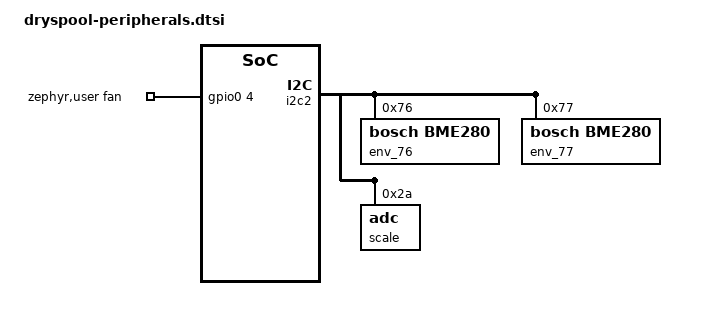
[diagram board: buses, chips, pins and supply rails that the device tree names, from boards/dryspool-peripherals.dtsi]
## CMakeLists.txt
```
cmake_minimum_required(VERSION 3.20.0)
# This must be set before Zephyr adds the Nordic nanopb library.
if("${CMAKE_CURRENT_SOURCE_DIR}/config/ble_setup.conf" IN_LIST CONF_FILE)
  set(NANOPB_OPTIONS "--options-file=${CMAKE_CURRENT_SOURCE_DIR}/config/ble_personal_wifi.options")
endif()
find_package(Zephyr REQUIRED HINTS $ENV{ZEPHYR_BASE})
project(dryspool)

target_include_directories(app PRIVATE src)
target_sources(app PRIVATE
  src/main.c
  src/sensors/bme280.c
  src/sensors/nau7802.c
  src/control/fan.c
  src/spool/profile.c
  src/spool/calibration.c
  src/shell/commands.c
  src/readings.c
)

if(CONFIG_DRYSPOOL_CLOUD)
  include(cmake/memfault.cmake)
  target_sources(app PRIVATE src/cloud/cloud.c src/cloud/telemetry.c src/cloud/box_shadow.c)
  if(CONFIG_DRYSPOOL_BLE_SETUP)
    target_sources(app PRIVATE src/setup/provisioning.c)
    zephyr_library_include_directories($<TARGET_PROPERTY:wifi_prov_core,BINARY_DIR>)
    target_link_libraries(app PRIVATE wifi_prov_ble)
  endif()
  target_sources_ifdef(CONFIG_SAMPLE_MEMFAULT_FOTA app PRIVATE src/ota/trial_image.c)
  if("${CONFIG_MEMFAULT_NCS_PROJECT_KEY}" STREQUAL "")
    message(WARNING "No Memfault project key configured. For release checks, build with -DEXTRA_CONF_FILE=<absolute path to firmware/local.conf>.")
  endif()
endif()
```

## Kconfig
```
#
# Copyright (c) 2022 Nordic Semiconductor ASA
#
# SPDX-License-Identifier: LicenseRef-Nordic-5-Clause
#

menu "DrySpool firmware settings"

config DRYSPOOL_CLOUD
	bool
	default y if BOARD_NRF7002DK_NRF5340_CPUAPP_NS

config DRYSPOOL_BLE_SETUP
	bool "DrySpool Bluetooth setup"
	depends on DRYSPOOL_CLOUD

config APP_VERSION
	string "DrySpool application version"
	default "$(APPVERSION)"

config CLOUD_CONNECTION_RETRY_TIMEOUT_SECONDS
	int "Cloud connection retry timeout (seconds)"
	default 30

config CONNECTION_THREAD_STACK_SIZE
	int "Cloud connection thread stack size (bytes)"
	default 2048

config SENSOR_SAMPLE_INTERVAL_SECONDS
	int "Cloud telemetry interval (seconds)"
	default 60
	help
	  Controls cloud reporting. The local sampling loop runs independently.

if NRF_CLOUD_COAP

config SAMPLE_MEMFAULT_FOTA
	bool "Application FOTA using Memfault Release Management"
	depends on BOOTLOADER_MCUBOOT
	depends on $(dt_nodelabel_enabled,slot1_partition)
	depends on MCUBOOT_BOOTLOADER_MODE_SWAP_USING_OFFSET || MCUBOOT_BOOTLOADER_MODE_SWAP_USING_MOVE || \
			MCUBOOT_BOOTLOADER_MODE_SWAP_SCRATCH || MCUBOOT_BOOTLOADER_MODE_RAM_LOAD_WITH_REVERT || \
			MCUBOOT_BOOTLOADER_MODE_DIRECT_XIP_WITH_REVERT
	help
	  Enables application firmware updates delivered through Memfault
	  Release Management. Requires a MCUboot mode that supports the
	  test/confirm revert mechanism, since the sample relies on
	  boot_write_img_confirmed() to mark an update as good.

config SAMPLE_MEMFAULT_BUTTONS
	bool "Trigger Memfault actions with DK buttons"
	default y
	depends on MEMFAULT
	select DK_LIBRARY
	help
	  Lets the application trigger Memfault actions on demand, instead of
	  waiting for the Memfault SDK's periodic upload timer:
	  The first button (sw0) captures a metrics heartbeat and posts all pending chunks.
	  The second button (sw1) checks for a FOTA update (requires SAMPLE_MEMFAULT_FOTA).

config SAMPLE_MEMFAULT_BUTTONS_THREAD_STACK_SIZE
	int "Memfault buttons thread stack size (bytes)"
	default 4096
	depends on SAMPLE_MEMFAULT_BUTTONS
	help
	  Sets the stack size (in bytes) for the thread that runs the
	  button-triggered Memfault actions.

endif

endmenu

if NRF_CLOUD_MQTT
module-str = MQTT nRF Cloud
endif
if NRF_CLOUD_COAP
module-str = CoAP nRF Cloud
endif
module = WIFI_NRF_CLOUD
source "$(ZEPHYR_BASE)/subsys/logging/Kconfig.template.log_config"

menu "Zephyr Kernel"
source "Kconfig.zephyr"
endmenu
```

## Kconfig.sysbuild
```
#
# Copyright (c) 2024 Nordic Semiconductor
#
# SPDX-License-Identifier: LicenseRef-Nordic-5-Clause
#

config WIFI_NRF70
	default y if BOARD_NRF7002DK_NRF5340_CPUAPP_NS

config PARTITION_MANAGER
	default n

# MCUBoot is not fully supported on nRF7120/ns yet
choice BOOTLOADER
	default BOOTLOADER_MCUBOOT
endchoice

source "share/sysbuild/Kconfig"

config DRYSPOOL_BLE_SETUP
	bool "Build the DrySpool Bluetooth setup profile"
	depends on BOARD_NRF7002DK_NRF5340_CPUAPP_NS

config NRF_DEFAULT_IPC_RADIO
	default y if DRYSPOOL_BLE_SETUP
```

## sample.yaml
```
sample:
  name: DrySpool Wi-Fi nRF Cloud FOTA firmware
tests:
  dryspool.wifi.coap.fota:
    sysbuild: true
    build_only: true
    integration_platforms:
      - nrf7002dk/nrf5340/cpuapp/ns
    platform_allow:
      - nrf7002dk/nrf5340/cpuapp/ns
    tags:
      - dryspool
      - wifi
      - fota
      - sysbuild
```

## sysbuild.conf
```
# DrySpool uses its own ECDSA-P256 root-of-trust key.
# The private key is intentionally ignored by Git and must be distributed to
# teammates through a secure out-of-band channel.
SB_CONFIG_BOOT_SIGNATURE_TYPE_ECDSA_P256=y
SB_CONFIG_BOOT_SIGNATURE_KEY_FILE="\${APPLICATION_CONFIG_DIR}/keys/dryspool-signing.pem"
```

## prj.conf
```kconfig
#
# Copyright (c) 2022 Nordic Semiconductor ASA
#
# SPDX-License-Identifier: LicenseRef-Nordic-5-Clause
#

# Log level
CONFIG_LOG_PRINTK=y
CONFIG_NET_LOG=y
# For more verbose and detailed log output, set the log level to
# CONFIG_WIFI_NRF_CLOUD_LOG_LEVEL_DBG=y instead.
CONFIG_WIFI_NRF_CLOUD_LOG_LEVEL_INF=y

# General config
CONFIG_SENSOR=y
CONFIG_I2C=y
CONFIG_BME280=y
CONFIG_EVENTS=y
CONFIG_PICOLIBC_IO_FLOAT=y
CONFIG_RESET_ON_FATAL_ERROR=y
CONFIG_NCS_SAMPLES_DEFAULTS=y

# Improved Logging
# CONFIG_LOG_MODE_DEFERRED allows logging from multiple threads simultaneously without creating
# splintered log entries, at the cost of needing a buffer for storing logs.
CONFIG_LOG_MODE_DEFERRED=y

# CONFIG_LOG_BUFFER_SIZE is the aforementioned buffer. A size of 4096 bytes is useful for debugging
# and prototyping, but is probably more than necessary for production-ready firmware.
CONFIG_LOG_BUFFER_SIZE=4096

# Heap and stacks
# Extended memory heap size needed for Wi-Fi operation and encoding JSON-based nRF Cloud Device Messages.
# Add 256 bytes for each additional scanning result (CONFIG_NRF_WIFI_SCAN_MAX_BSS_CNT),
# assuming sane SSID lengths.
CONFIG_HEAP_MEM_POOL_SIZE=40144
CONFIG_HEAP_MEM_POOL_IGNORE_MIN=y
CONFIG_SYSTEM_WORKQUEUE_STACK_SIZE=4096
CONFIG_MAIN_STACK_SIZE=2048

# Enable Networking and Connection Manager.
CONFIG_NETWORKING=y
CONFIG_NET_SOCKETS=y
CONFIG_NET_SOCKETS_OFFLOAD=n
CONFIG_NET_MGMT_EVENT_QUEUE_SIZE=30
CONFIG_NET_CONNECTION_MANAGER_MONITOR_STACK_SIZE=6144
CONFIG_NET_CONNECTION_MANAGER=y

CONFIG_NET_IPV4=y
CONFIG_NET_IPV6=y
CONFIG_NET_IPV6_NBR_CACHE=n
CONFIG_NET_IPV6_MLD=n

# DNS
CONFIG_DNS_RESOLVER=y
CONFIG_NET_SOCKETS_DNS_TIMEOUT=30000

# Wi-Fi drivers
CONFIG_WIFI=y


# Wi-Fi conn_mgr bindings
CONFIG_L2_WIFI_CONNECTIVITY=y

# Wi-Fi credentials (simplified Wi-Fi connection setup)
CONFIG_WIFI_CREDENTIALS=y

# Wi-Fi networking and native networking stack
# Note: WIFI_NM_WPA_SUPPLICANT requires 24kB of unused RAM in the final build.
# Memory allocations are fine-tuned with that fact in mind.
CONFIG_WIFI_NM_WPA_SUPPLICANT=y
CONFIG_NET_L2_ETHERNET=y
CONFIG_NET_NATIVE=y
CONFIG_NET_SOCKETS_SOCKOPT_TLS=y
# Allow the FOTA download (HTTPS) to run concurrently with the nRF Cloud CoAP/DTLS conn.
CONFIG_NET_SOCKETS_TLS_MAX_CONTEXTS=2
CONFIG_NET_SOCKETS_TLS_MAX_SESSION_CONTEXTS=2
CONFIG_NET_MAX_CONN=8
CONFIG_NET_MAX_CONTEXTS=8

# Shrink TLS record size and negotiate the smaller size, allowing for
# two concurrent TLS/DTLS sessions (nRF Cloud CoAP + FOTA HTTPS) to fit within the
# available mbedTLS heap (CONFIG_MBEDTLS_HEAP_SIZE).
CONFIG_MBEDTLS_SSL_IN_CONTENT_LEN=4096
CONFIG_MBEDTLS_SSL_OUT_CONTENT_LEN=4096
CONFIG_MBEDTLS_SSL_MAX_FRAGMENT_LENGTH=y

CONFIG_NET_CONTEXT_SNDTIMEO=y
CONFIG_NET_TCP=y
CONFIG_NET_DHCPV4=y

# MBEDTLS base configuration for Wi-Fi TLS/DTLS
CONFIG_MBEDTLS=y
CONFIG_MBEDTLS_ENABLE_HEAP=y
CONFIG_MBEDTLS_SSL_SERVER_NAME_INDICATION=y
CONFIG_MBEDTLS_HEAP_SIZE=65536
# PEM parsing is required for TLS credentials provisioned via the shell
CONFIG_MBEDTLS_PEM_PARSE_C=y
# Needed to parse/verify RSA-signed CA certificates (e.g. Amazon Root CA1, used by
# CONFIG_NRF_CLOUD_PROVISION_CERTIFICATES's hardcoded credentials flow).
CONFIG_MBEDTLS_CIPHERSUITE_TLS_ECDHE_RSA_WITH_AES_128_CBC_SHA256=y
CONFIG_PSA_WANT_ALG_ECDSA=y
# PBKDF2-HMAC is needed for WPA2-PSK passphrase hashing (pbkdf2_sha1)
CONFIG_PSA_WANT_ALG_PBKDF2_HMAC=y
CONFIG_PSA_WANT_ALG_PBKDF2_AES_CMAC_PRF_128=y

# Wait for credential installation to be complete before connecting to nRF Cloud
CONFIG_NRF_CLOUD_CHECK_CREDENTIALS=y

# nRF Cloud
# Transport (MQTT or CoAP) is selected explicitly via mqtt.conf or coap.conf.
CONFIG_NRF_CLOUD=y

# Use compile-time client ID for nRF Cloud
CONFIG_NRF_CLOUD_CLIENT_ID_SRC_HW_ID=y
CONFIG_HW_ID_LIBRARY=y
CONFIG_HW_ID_LIBRARY_SOURCE_DEVICE_ID=y

# Limit the scan result set to keep the Wi-Fi heap bounded.
CONFIG_NRF_WIFI_SCAN_MAX_BSS_CNT=10

# Date Time lib - Used by main application
CONFIG_DATE_TIME=y
# Enable date_time retries for Wi-Fi
# This prevents occasional DNS lookup flukes from
# rendering the device unable to connect until the next
# CONFIG_DATE_TIME_UPDATE_INTERVAL_SECONDS elapses (default 4 hours)
CONFIG_DATE_TIME_RETRY_COUNT=5
# Use a really short retry interval for demo purposes
# 60 seconds to 15 minutes is probably more appropriate for real-world applications
CONFIG_DATE_TIME_RETRY_INTERVAL_SECONDS=20

# Settings are used by nRF Cloud (MQTT persistent session, FOTA) and for Wi-Fi credentials
# on TFM-less builds. The storage backend (ZMS or NVS) is selected in each board's .conf file.
CONFIG_SETTINGS=y

# Flash
CONFIG_FLASH=y
CONFIG_FLASH_PAGE_LAYOUT=y
CONFIG_FLASH_MAP=y

# Run the application as the non-secure image behind TF-M. Keep these settings
# explicit so pristine sysbuilds include Protected Storage and the crypto
# support used by the nRF Cloud credentials.
CONFIG_BUILD_WITH_TFM=y
CONFIG_TRUSTED_EXECUTION_NONSECURE=y
CONFIG_TFM_PARTITION_PROTECTED_STORAGE=y
CONFIG_TFM_PROFILE_TYPE_NOT_SET=y
CONFIG_TFM_CRYPTO_ASYM_SIGN_MODULE_ENABLED=y

# Credential management shells
CONFIG_SHELL=y
CONFIG_NET_L2_WIFI_SHELL=y
CONFIG_WIFI_CREDENTIALS_SHELL=y
CONFIG_TLS_CREDENTIALS_SHELL=y
# "net iface" shows MAC + IP; "net ping" useful for connectivity checks
CONFIG_NET_SHELL=y
CONFIG_DEVMEM_SHELL=n
# Persist TLS credentials across reboots.
CONFIG_TLS_CREDENTIALS_BACKEND_PROTECTED_STORAGE=y
# Memfault installs two root CAs and nRF Cloud needs a CA, client certificate,
# and private key. The Zephyr default of four entries cannot hold all five.
CONFIG_TLS_MAX_CREDENTIALS_NUMBER=8
# Increased stack size needed for wifi_cred auto_connect command
CONFIG_SHELL_STACK_SIZE=6144
# nRFCloud credentials can exceed 1024 bytes
CONFIG_TLS_CREDENTIALS_SHELL_CRED_BUF_SIZE=3072
# Needed by the TLS credentials shell
CONFIG_BASE64=y

# Network
CONFIG_POSIX_API=y

# Miscellaneous resource allocation tweaks needed to support Wi-Fi
CONFIG_MESSAGE_THREAD_STACK_SIZE=8192
CONFIG_CONNECTION_THREAD_STACK_SIZE=6144
CONFIG_DATE_TIME_THREAD_STACK_SIZE=2048
CONFIG_NET_TX_STACK_SIZE=1024
CONFIG_NET_RX_STACK_SIZE=2048
CONFIG_WIFI_NM_WPA_SUPPLICANT_THREAD_STACK_SIZE=6144
CONFIG_ZVFS_POLL_MAX=8

## Memory allocation
CONFIG_NRF_WIFI_CTRL_HEAP_SIZE=20000
CONFIG_NRF_WIFI_DATA_HEAP_SIZE=92856

## Thread stack sizes
CONFIG_APPLICATION_THREAD_STACK_SIZE=2048
CONFIG_NET_MGMT_EVENT_STACK_SIZE=8192

# NCS 3.4.0 does not expose the later on-device nRF Cloud credential-keygen
# options. Provision cloud credentials with the documented nRF Cloud flow.

# Convert only when sensor_sample_fetch() requests a reading; sleep afterward.
CONFIG_BME280_MODE_FORCED=y
```

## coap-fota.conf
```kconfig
#
# Copyright (c) 2026 Nordic Semiconductor ASA
#
# SPDX-License-Identifier: LicenseRef-Nordic-5-Clause
#

# We keep FOTA support in a separate file because not all targets
# are able to support it yet (nRF7120/ns). Can be merged into
# coap.conf once things are in shape.

# Set sample-local flag
CONFIG_SAMPLE_MEMFAULT_FOTA=y

# Enable FOTA
CONFIG_FOTA_DOWNLOAD=y
CONFIG_FOTA_DOWNLOAD_PROGRESS_EVT=y
CONFIG_DFU_TARGET=y
CONFIG_DOWNLOADER=y
CONFIG_IMG_MANAGER=y
CONFIG_STREAM_FLASH=y
CONFIG_IMG_ERASE_PROGRESSIVELY=y
CONFIG_REBOOT=y
# Custom callback to gracefully disconnect from nRF Cloud before reboot
CONFIG_MEMFAULT_FOTA_DOWNLOAD_CALLBACK_CUSTOM=y
# Let Memfault SDK poll for FOTA updates
CONFIG_MEMFAULT_PERIODIC_FOTA_CHECK=y

# NCS 3.4.0 caps the nRF Cloud CoAP path at 128. Memfault release checks and
# payload downloads use HTTPS in this backport, so longer CoAP paths are not needed.
CONFIG_COAP_CLIENT_MAX_PATH_LENGTH=128
CONFIG_DOWNLOADER_MAX_FILENAME_SIZE=400
CONFIG_DOWNLOADER_STACK_SIZE=8192
```

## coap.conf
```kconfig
#
# Copyright (c) 2024 Nordic Semiconductor ASA
#
# SPDX-License-Identifier: LicenseRef-Nordic-5-Clause
#

# Configure MBEDTLS for CoAP/DTLS
CONFIG_MQTT_LIB_TLS=n
CONFIG_MBEDTLS_DTLS=y
CONFIG_MBEDTLS_SSL_SRV_C=y
CONFIG_MBEDTLS_SSL_COOKIE_C=y
# Ciphersuite for CoAP
CONFIG_MBEDTLS_CIPHERSUITE_TLS_ECDHE_ECDSA_WITH_AES_128_GCM_SHA256=y
CONFIG_MBEDTLS_SSL_DTLS_HELLO_VERIFY=y
CONFIG_MBEDTLS_SSL_DTLS_CONNECTION_ID=y
CONFIG_NET_SOCKETS_ENABLE_DTLS=y

# nRF Cloud: CoAP
CONFIG_NRF_CLOUD_COAP=y
CONFIG_NRF_CLOUD_JWT_SOURCE_CUSTOM=y
CONFIG_NRF_CLOUD_COAP_MAX_USER_OPTIONS=0
CONFIG_COAP_CLIENT_MAX_EXTRA_OPTIONS=3
# Memfault requires longer CoAP options than the default
CONFIG_COAP_EXTENDED_OPTIONS_LEN_VALUE=192

# Memfault device management. NCS 3.4.0's bundled Memfault 1.40 CoAP port
# incorrectly pulls in an nRF91-only modem header on nRF7002. Use Memfault's
# supported HTTPS transport for diagnostics and release checks while keeping
# nRF Cloud CoAP for DrySpool telemetry.
CONFIG_MEMFAULT=y
CONFIG_MEMFAULT_HTTP_ENABLE=y
CONFIG_MEMFAULT_PERIODIC_UPLOAD=y
# Let the application enable upload when ready
CONFIG_MEMFAULT_PERIODIC_UPLOAD_ENABLED_DEFAULT=n
CONFIG_MEMFAULT_SHELL=y
# 3.11: heartbeat + automatic upload every 5 min (default is 1 hour) so metric
# charts fill up and OTA checks happen quickly during the demo.
CONFIG_MEMFAULT_METRICS_HEARTBEAT_INTERVAL_SECS=300
CONFIG_MEMFAULT_PERIODIC_UPLOAD_INTERVAL_SECS=300
# 3.11 metric 4.1: power status via Memfault battery metrics (see src/dryspool_power.c)
CONFIG_MEMFAULT_METRICS_BATTERY_ENABLE=y
# Memfault 1.40 declares Zephyr 4.4's system heap with an obsolete type when
# this optional metric is enabled. Keep allocation tracking/coredumps, but
# disable only the incompatible aggregate memory-usage metric.
CONFIG_MEMFAULT_METRICS_MEMORY_USAGE=n
CONFIG_MEMFAULT_NCS_FW_VERSION_STATIC=y
CONFIG_MEMFAULT_NCS_FW_TYPE="dryspool-app"
CONFIG_MEMFAULT_NCS_HW_VERSION="nrf7002dk-rev1"
CONFIG_MEMFAULT_NCS_PROJECT_KEY=""
CONFIG_MEMFAULT_ROOT_CERT_STORAGE_TLS_CREDENTIAL_STORAGE=y
CONFIG_MEMFAULT_NCS_PROVISION_CERTIFICATES=y
# Dedicated workqueue for Memfault uploads
CONFIG_MEMFAULT_PERIODIC_UPLOAD_USE_DEDICATED_WORKQUEUE=y
# Clean fault logs
CONFIG_MPU_STACK_GUARD=y
CONFIG_MEMFAULT_FAULT_HANDLER_RETURN=y

# CoAP Client
CONFIG_COAP_CLIENT_BLOCK_SIZE=1024
CONFIG_COAP_CLIENT_THREAD_PRIORITY=0

# Stack sizes
CONFIG_COAP_CLIENT_STACK_SIZE=8192
CONFIG_COAP_SHADOW_THREAD_STACK_SIZE=8192
```

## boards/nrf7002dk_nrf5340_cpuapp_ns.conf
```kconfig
#
# Copyright (c) 2026 Nordic Semiconductor ASA
#
# SPDX-License-Identifier: LicenseRef-Nordic-5-Clause
#

# Note: even when using Protected Storage, credentials are still retrieved into insecure
# memory when in use.
CONFIG_TFM_PARTITION_PROTECTED_STORAGE=y
## TF-M: keep IPC mode (default) for the MQTT build. Enable MM-IOVEC to save RAM.
CONFIG_TFM_PSA_FRAMEWORK_HAS_MM_IOVEC=y

CONFIG_TFM_CRYPTO_ASYM_SIGN_MODULE_ENABLED=y

# Use NVS for settings
CONFIG_NVS=y

# Enable LTO to save flash memory (required for CoAP overlay which would otherwise overflow)
CONFIG_LTO=y
CONFIG_ISR_TABLES_LOCAL_DECLARATION=y

#NRF70 specific configuration
CONFIG_WIFI_NRF70=y
CONFIG_WIFI_NRF70_SKIP_LOCAL_ADMIN_MAC=y

# Keep crash data in a dedicated internal-flash partition. A RAM-backed dump
# large enough for this application would exceed the nRF5340's available RAM.
CONFIG_MEMFAULT_NCS_INTERNAL_FLASH_BACKED_COREDUMP=y
CONFIG_MBEDTLS_HEAP_SIZE=49152

# Cut flash. Needed in order to fit into application image slots
CONFIG_NET_SHELL=n

# Not enough RAM for the Memfault buttons thread
CONFIG_SAMPLE_MEMFAULT_BUTTONS=n

# UARTE1 and arduino_i2c/TWIM1 share serial block 1. TF-M's dedicated
# UART1 logging reservation makes non-secure I2C initialization bus-fault.
# Release UART1; the application console remains on UART0.
CONFIG_TFM_LOG_LEVEL_SILENCE=y
CONFIG_TFM_SECURE_UART=n
```

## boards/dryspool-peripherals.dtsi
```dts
&arduino_i2c {
	status = "disabled";
};

/* UARTE1 belongs to TF-M. Route TWIM2 to the Arduino SDA/SCL pins. */
&i2c2 {
	status = "okay";
	pinctrl-0 = <&i2c1_default>;
	pinctrl-1 = <&i2c1_sleep>;
	pinctrl-names = "default", "sleep";

	env_76: bme280@76 {
		compatible = "bosch,bme280";
		reg = <0x76>;
	};
	env_77: bme280@77 {
		compatible = "bosch,bme280";
		reg = <0x77>;
	};
	scale: adc@2a {
		reg = <0x2a>;
	};
};

/ {
	zephyr,user {
		fan-gpios = <&gpio0 4 GPIO_ACTIVE_HIGH>; /* Arduino A0 -> driver IN */
	};
};
```

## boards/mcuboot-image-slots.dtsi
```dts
/*
 * Copyright (c) 2026 Nordic Semiconductor ASA
 *
 * SPDX-License-Identifier: LicenseRef-Nordic-5-Clause
 */

/* Shared slot0/slot1 addresses and sizes */

&flash0 {
	partitions {
		slot0_partition: partition@10000 {
			compatible = "zephyr,mapped-partition";
			label = "image-0";
			reg = <0x10000 DT_SIZE_K(896)>;
		};
	};
};

&mx25r64 {
	partitions {
		compatible = "fixed-partitions";
		#address-cells = <1>;
		#size-cells = <1>;

		slot1_partition: partition@0 {
			label = "image-1";
			reg = <0x0 DT_SIZE_K(896)>;
		};
	};
};
```

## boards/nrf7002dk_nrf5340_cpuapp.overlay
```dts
#include "dryspool-peripherals.dtsi"
```

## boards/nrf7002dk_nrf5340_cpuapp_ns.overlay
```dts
/*
 * Copyright (c) 2026 Nordic Semiconductor ASA
 *
 * SPDX-License-Identifier: LicenseRef-Nordic-5-Clause
 */

/* NCS 3.4 cpuapp/ns target: dual-slot MCUboot layout with external slot1. */

/delete-node/ &slot0_partition;
/delete-node/ &slot1_partition;
/delete-node/ &storage_partition;
/delete-node/ &sram0_ns;

#include "mcuboot-image-slots.dtsi"

&slot0_partition {
	ranges = <0x0 0x10000 DT_SIZE_K(896)>;
	#address-cells = <1>;
	#size-cells = <1>;

	slot0_s_partition: partition@0 {
		compatible = "zephyr,mapped-partition";
		label = "image-0-secure";
		reg = <0x0 DT_SIZE_K(128)>;
	};

	slot0_ns_partition: partition@20000 {
		compatible = "zephyr,mapped-partition";
		label = "image-0-nonsecure";
		reg = <0x20000 DT_SIZE_K(768)>;
	};
};

&flash0 {
	partitions {
		/*
		 * 0x10000 (boot) + 896K (slot0) = 0xf0000.
		 *
		 * nRF5340 flash security attribution has 32 KiB granularity. Keep all
		 * TF-M storage in the secure 0xf0000-0xf7fff region and all Zephyr
		 * storage in the non-secure 0xf8000-0xfffff region. Mixing secure and
		 * non-secure partitions inside either region causes TF-M Protected
		 * Storage to fault after credentials have been persisted.
		 */
		tfm_ps_partition: partition@f0000 {
			compatible = "zephyr,mapped-partition";
			label = "tfm-ps";
			reg = <0xf0000 DT_SIZE_K(16)>;
		};

		tfm_its_partition: partition@f4000 {
			compatible = "zephyr,mapped-partition";
			label = "tfm-its";
			reg = <0xf4000 DT_SIZE_K(8)>;
		};

		tfm_otp_partition: partition@f6000 {
			compatible = "zephyr,mapped-partition";
			label = "tfm-otp";
			reg = <0xf6000 DT_SIZE_K(8)>;
		};

		nonsecure_storage: partition@f8000 {
			compatible = "zephyr,mapped-partition";
			label = "nonsecure-storage";
			reg = <0xf8000 DT_SIZE_K(8)>;
			ranges = <0x0 0xf8000 DT_SIZE_K(8)>;
			#address-cells = <1>;
			#size-cells = <1>;

			storage_partition: partition@0 {
				compatible = "zephyr,mapped-partition";
				label = "storage";
				reg = <0x0 DT_SIZE_K(8)>;
			};
		};

		memfault_coredump_partition: partition@fa000 {
			compatible = "zephyr,mapped-partition";
			label = "memfault_coredump_partition";
			reg = <0xfa000 DT_SIZE_K(8)>;
		};
	};
};

/*
 * TrustZone SRAM split from devicetree (region_defs.h for TF-M). The secure image uses
 * 48 KiB (0xc000) at the base of cpuapp SRAM (&sram0_s); NS RAM begins at 0x20000000 + 0xc000.
 * &sram0_ns spans 0x74000 bytes; &sram0_ns_app is 0x64000 because the top 0x10000 (64 KiB)
 * within that NS window is sram0_shared for application/network-core IPC
 * (nrf5340_shared_sram_partition.dtsi), i.e. 0x64000 + 0x10000 == 0x74000.
 */
&sram0_s {
	reg = <0x0 0xc000>;
};

&sram0 {
	sram0_ns: sram@c000 {
		#address-cells = <1>;
		#size-cells = <1>;
		reg = <0xc000 0x74000>;
		ranges = <0x0 0xc000 0x74000>;

		sram0_ns_app: sram0_ns@0 {
			reg = <0x0 0x64000>;
		};
	};
};

/ {
	chosen {
		nordic,memfault-coredump-partition = &memfault_coredump_partition;
	};

	/delete-node/ nordic-tz-secure;
	/delete-node/ nordic-tz-nonsecure;

	nordic-tz-secure {
		compatible = "nordic,tz-secure";
		code-partitions = <&slot0_s_partition>;
		data-partitions = <&tfm_ps_partition>,
				  <&tfm_its_partition>,
				  <&tfm_otp_partition>;
	};

	nordic-tz-nonsecure {
		compatible = "nordic,tz-nonsecure";
		code-partitions = <&slot0_ns_partition>;
		data-partitions = <&storage_partition>;
	};
};

#include "dryspool-peripherals.dtsi"
```

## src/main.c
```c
#include <errno.h>
#include <zephyr/kernel.h>
#include <zephyr/logging/log.h>
#include <zephyr/sys/printk.h>

#include "spool/calibration.h"
#include "sensors/environment.h"
#include "control/fan.h"
#include "spool/profile.h"
#include "readings.h"
#include "sensors/scale.h"
#ifdef CONFIG_SAMPLE_MEMFAULT_FOTA
#include "ota/trial_image.h"
#endif

LOG_MODULE_REGISTER(dryspool, LOG_LEVEL_INF);

/* Format signed thousandths to two decimal places without floating-point logging. */
static void format_reading(char *out, size_t size, int32_t milli)
{
	uint32_t magnitude = milli < 0 ? 0U - (uint32_t)milli : (uint32_t)milli;
	uint32_t hundredths = (magnitude + 5U) / 10U;
	snprintk(out, size, "%s%u.%02u", milli < 0 && hundredths ? "-" : "",
		 hundredths / 100U, hundredths % 100U);
}

static void update_environment(struct dryspool_sample *sample, const struct profile *profile,
			       bool *fan_on)
{
	int rc = environment_read(&sample->temperature_mc, &sample->humidity_mpct);
	sample->env_valid = (rc == 0);
	if (sample->env_valid) {
		char temperature[16], humidity[16];
		format_reading(temperature, sizeof(temperature), sample->temperature_mc);
		format_reading(humidity, sizeof(humidity), sample->humidity_mpct);
		LOG_INF("Temperature: %s °C | Humidity: %s%% RH%s", temperature, humidity,
			sample->humidity_mpct >= profile->rh_on * 1000 ? " (high)" : "");
	} else {
		LOG_WRN("Temperature and humidity unavailable (sensor error %d)", rc);
	}

	sample->fan_request = dryspool_get_fan_request();
	bool target = fan_mode_output(sample->fan_request.mode, *fan_on, sample->env_valid,
				      sample->humidity_mpct, profile->rh_off, profile->rh_on);
	sample->fan_valid = (fan_apply(target) == 0);
	if (sample->fan_valid) {
		*fan_on = target;
		sample->fan_on = target;
		LOG_INF("Fan command: %s (%s)", target ? "On" : "Off",
			sample->fan_request.mode == FAN_AUTO ? "Auto" : "Manual");
	} else {
		LOG_ERR("Fan output unavailable: GPIO command failed");
	}
}

static void update_weight(struct dryspool_sample *sample, struct profile *profile,
			  uint32_t starting_revision)
{
	int failed_channel;
	int rc = scale_sample(sample->raw_counts, &failed_channel);
	if (rc != 0) {
		LOG_WRN("Scale read failed: %s", failed_channel < 0 ? "ADC initialization" :
			(failed_channel == SCALE_A ? "channel A" : "channel B"));
		if (rc == -EIO) {
			LOG_WRN("Scale unavailable: I/O error (%d). Check NAU7802 power and wiring.", rc);
		} else {
			LOG_WRN("Scale unavailable (sensor error %d)", rc);
		}
		return;
	}

	sample->raw_valid = true;
	/* A shell command can change the active spool or calibration while
	 * the ADC samples both channels. Apply the new settings next cycle.
	 */
	if (profile_get(profile) != starting_revision) {
		LOG_INF("Scale A: %d counts | B: %d counts | Filament unavailable: settings changed", sample->raw_counts[SCALE_A], sample->raw_counts[SCALE_B]);
		return;
	}
	rc = profile_filament_g(profile, sample->raw_counts, &sample->filament_g);
	if (rc == -ENODATA) {
		LOG_INF("Scale A: %d counts | B: %d counts | Filament unavailable: calibrate both A and B and set empty spool mass", sample->raw_counts[SCALE_A], sample->raw_counts[SCALE_B]);
	} else if (rc != 0) {
		LOG_WRN("Scale A: %d counts | B: %d counts | Filament unavailable: weight outside scale range", sample->raw_counts[SCALE_A], sample->raw_counts[SCALE_B]);
	} else {
		sample->grams_valid = true;
		LOG_INF("Spool: %s | Filament remaining: %d g%s | Scale A: %d counts | B: %d counts", profile->spool,
			sample->filament_g, sample->filament_g <= profile->low_g ? " (low)" : "",
			sample->raw_counts[SCALE_A], sample->raw_counts[SCALE_B]);
	}
}

int main(void)
{
	bool storage_ready = (profile_init() == 0);
	bool fan_on = false;

	if (!storage_ready) {
		LOG_ERR("Settings unavailable; check flash storage");
	}
	if (fan_init() != 0) {
		LOG_ERR("Fan GPIO initialization failed");
	}
#ifdef CONFIG_SAMPLE_MEMFAULT_FOTA
	trial_image_init();
#endif
	for (;;) {
		struct dryspool_sample sample = {0};
		struct profile profile;
		uint32_t revision = profile_get(&profile);

		update_environment(&sample, &profile, &fan_on);
		update_weight(&sample, &profile, revision);
		dryspool_publish_sample(&sample);
#ifdef CONFIG_SAMPLE_MEMFAULT_FOTA
		trial_image_check(storage_ready && sample.env_valid && sample.raw_valid && sample.fan_valid);
#endif
		k_sleep(K_SECONDS(2));
	}
}
```

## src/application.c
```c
/*
 * DrySpool application telemetry.
 *
 * Based on Nordic Semiconductor's Wi-Fi nRF Cloud sample.
 * SPDX-License-Identifier: LicenseRef-Nordic-5-Clause
 */

#include <zephyr/kernel.h>
#include <zephyr/logging/log.h>
#include <helpers/nrfx_reset_reason.h>
#include <date_time.h>
#include <net/nrf_cloud_codec.h>
#include <memfault/metrics/metrics.h>

#include "application.h"
#include "cloud_connection.h"
#include "dryspool_sensors.h"
#include "message_queue.h"
#if defined(CONFIG_SAMPLE_MEMFAULT_FOTA)
#include "ota/memfault_update.h"
#endif

LOG_MODULE_REGISTER(application, CONFIG_WIFI_NRF_CLOUD_LOG_LEVEL);

static K_TIMER_DEFINE(sensor_sample_timer, NULL, NULL);
static bool test_counter_enabled;

static int send_numeric_sample(const char *const app_id, double value)
{
	int ret;
	MSG_OBJ_DEFINE(msg_obj);

	ret = nrf_cloud_obj_msg_ts_init(&msg_obj, app_id,
					NRF_CLOUD_JSON_MSG_TYPE_VAL_DATA);
	if (ret) {
		return ret;
	}

	ret = nrf_cloud_obj_num_add(&msg_obj, NRF_CLOUD_JSON_DATA_KEY, value, false);
	if (ret) {
		nrf_cloud_obj_free(&msg_obj);
		return ret;
	}

	return send_device_message(&msg_obj);
}

static void send_dryspool_sample(const struct dryspool_reading *reading)
{
	LOG_INF("DrySpool: %.1f C, %.1f %%RH, %.1f g, dehumidifier %s",
		(double)reading->temperature_c, (double)reading->humidity_pct,
		(double)reading->filament_remaining_g,
		reading->dehumidifier_on ? "on" : "off");

	/* Forward critical DrySpool data to Memfault as heartbeat metrics (x10 scaled). */
	MEMFAULT_METRIC_SET_UNSIGNED(dryspool_humidity_pct,
				     (uint32_t)(reading->humidity_pct * 10.0));
	MEMFAULT_METRIC_SET_SIGNED(dryspool_temperature_c,
				   (int32_t)(reading->temperature_c * 10.0));
	MEMFAULT_METRIC_SET_UNSIGNED(dryspool_filament_g,
				     (uint32_t)reading->filament_remaining_g);
	MEMFAULT_METRIC_SET_UNSIGNED(dryspool_dehumidifier_on,
				     reading->dehumidifier_on ? 1U : 0U);

	(void)send_numeric_sample("DRYSPOOL_TEMPERATURE_C", reading->temperature_c);
	(void)send_numeric_sample("DRYSPOOL_HUMIDITY_PCT", reading->humidity_pct);
	(void)send_numeric_sample("DRYSPOOL_FILAMENT_G", reading->filament_remaining_g);
	(void)send_numeric_sample("DRYSPOOL_DEHUMIDIFIER_ON",
				 reading->dehumidifier_on ? 1.0 : 0.0);
}

static void test_counter_send(void)
{
	static int counter;

	for (int i = 0; i < CONFIG_TEST_COUNTER_MULTIPLIER; i++) {
		(void)send_numeric_sample("COUNT", counter++);
	}
}

static void print_reset_reason(void)
{
	uint32_t reset_reason = nrfx_reset_reason_get();

	nrfx_reset_reason_clear(reset_reason);
	LOG_INF("Reset reason: 0x%x", reset_reason);
}

void main_application_thread_fn(void)
{
	struct dryspool_reading reading;
	int ret;

	print_reset_reason();

	ret = dryspool_sensors_init();
	if (ret) {
		(void)MEMFAULT_METRIC_ADD(dryspool_sensor_read_failures, 1);
		LOG_ERR("DrySpool sensor initialization failed: %d", ret);
		return;
	}

	/* Confirm a new image only after the product sensor layer passes its
	 * startup check. If startup fails or crashes first, MCUboot can revert it.
	 */
#if defined(CONFIG_SAMPLE_MEMFAULT_FOTA)
	memfault_confirm_running_image();
#endif

	(void)await_cloud_ready(K_FOREVER);

	LOG_INF("Waiting for valid network time");
	if (!await_date_time_known(K_SECONDS(CONFIG_DATE_TIME_ESTABLISHMENT_TIMEOUT_SECONDS))) {
		LOG_WRN("Valid date/time unavailable; continuing");
	}

	while (true) {
		k_timer_start(&sensor_sample_timer,
			      K_SECONDS(CONFIG_SENSOR_SAMPLE_INTERVAL_SECONDS), K_FOREVER);

		ret = dryspool_sensors_read(&reading);
		if (ret) {
			(void)MEMFAULT_METRIC_ADD(dryspool_sensor_read_failures, 1);
			LOG_ERR("DrySpool sensor read failed: %d", ret);
		} else {
			send_dryspool_sample(&reading);
		}

		if (test_counter_enable_get()) {
			test_counter_send();
		}

		k_timer_status_sync(&sensor_sample_timer);

		if (!await_cloud_ready(K_NO_WAIT) && is_device_deleted()) {
			LOG_INF("Cloud not ready; pausing telemetry");
			(void)await_cloud_ready(K_FOREVER);
			LOG_INF("Cloud ready; resuming telemetry");
		}
	}
}

void test_counter_enable_set(const bool enable)
{
	if (!IS_ENABLED(CONFIG_TEST_COUNTER)) {
		test_counter_enabled = enable;
	}
}

bool test_counter_enable_get(void)
{
	return test_counter_enabled || IS_ENABLED(CONFIG_TEST_COUNTER);
}
```

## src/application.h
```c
/* Copyright (c) 2023 Nordic Semiconductor ASA
 *
 * SPDX-License-Identifier: LicenseRef-Nordic-5-Clause
 */

#ifndef _APPLICATION_H_
#define _APPLICATION_H_

#if defined(CONFIG_NRF_CLOUD_MQTT)
#define MSG_OBJ_DEFINE(_obj_name) \
	NRF_CLOUD_OBJ_JSON_DEFINE(_obj_name);
#elif defined(CONFIG_NRF_CLOUD_COAP)
#define MSG_OBJ_DEFINE(_obj_name) \
	NRF_CLOUD_OBJ_COAP_CBOR_DEFINE(_obj_name);
#endif

/**
 * @brief Initialize DrySpool, wait for cloud readiness, then periodically
 * sample product state and send it to nRF Cloud.
 */
void main_application_thread_fn(void);

void test_counter_enable_set(const bool enable);
bool test_counter_enable_get(void);

#endif /* _APPLICATION_H_ */
```

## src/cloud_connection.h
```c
/* Copyright (c) 2023 Nordic Semiconductor ASA
 *
 * SPDX-License-Identifier: LicenseRef-Nordic-5-Clause
 */

#ifndef _CLOUD_CONNECTION_H_
#define _CLOUD_CONNECTION_H_
#include <net/nrf_cloud.h>
#include "cloud/cloud_session.h"

/**
 * @brief nRF Cloud device message handler.
 *
 * @param[in] dev_msg The received device message as a NULL-terminated string
 */
typedef void (*dev_msg_handler_cb_t)(const struct nrf_cloud_data *const dev_msg);

/**
 * @brief Sleep until the network is ready for use, or the specified timeout elapses.
 *
 * @param timeout - The time to wait before timing out.
 * @return true if the network became ready in time.
 * @return false if timed out.
 */
bool await_network_ready(k_timeout_t timeout);

/**
 * @brief Sleep until connection to nRF Cloud is lost, or the specified timeout elapses.
 *
 * @param timeout - The time to wait before timing out.
 * @return true if the connection was lost within the timeout.
 * @return false if timed out.
 */
bool await_cloud_disconnected(k_timeout_t timeout);

/**
 * @brief Sleep until the current date-time is known, or the specified timeout elapses.
 *
 * @param timeout - The time to wait before timing out.
 * @return true if the current date-time was determined within the timeout.
 * @return false if timed out.
 */
bool await_date_time_known(k_timeout_t timeout);

/**
 * @brief Check if device has been removed from the cloud.
 *
 * @return true if it was just removed.
 * @return false if not removed.
 */
bool is_device_deleted(void);

/**
 * @brief Register a device message handler to receive general device messages from nRF Cloud.
 *
 * The callback will be called directly from the nRF Cloud connection poll thread, so it will block
 * receipt of data from nRF Cloud until complete. Avoid lengthy operations.
 *
 * @param handler_cb - The callback to handle device messages
 */
void register_general_dev_msg_handler(dev_msg_handler_cb_t handler_cb);

/**
 * @brief Report a communications error so the cloud_connection can evaluate and
 * recover.
 */
void cloud_transport_error_detected(void);

/**
 * @brief Cloud connection thread function.
 *
 * This function manages the cloud connection thread. Once called, it begins monitoring network
 * status and persistently maintains a connection to nRF Cloud whenever Internet is available.
 */
void cloud_connection_thread_fn(void);

#endif /* _CLOUD_CONNECTION_H_ */
```

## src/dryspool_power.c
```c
/*
 * DrySpool power status for Memfault (requirement 3.11 - metric 4.1).
 *
 * The nRF7002 DK has no battery: it is always powered over USB. Memfault's
 * built-in battery metrics (battery_soc_pct, battery_discharge_duration_ms,
 * battery_soc_pct_drop) call this function every heartbeat, so we report
 * "100 % and not discharging" = USB/mains powered.
 *
 * PLACEHOLDER: when the DrySpool PCB gets a battery + fuel gauge, read the
 * real state of charge here instead of the constant below.
 */
#include <stdbool.h>
#include <memfault/metrics/platform/battery.h>

int memfault_platform_get_stateofcharge(sMfltPlatformBatterySoc *soc)
{
	/* 100 % in Memfault's scaled units (CONFIG_MEMFAULT_METRICS_BATTERY_SOC_PCT_SCALE_VALUE) */
	soc->soc = 100 * CONFIG_MEMFAULT_METRICS_BATTERY_SOC_PCT_SCALE_VALUE;
	soc->discharging = false; /* USB powered -> never discharging */
	return 0;
}
```

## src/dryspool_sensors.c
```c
/* SPDX-License-Identifier: LicenseRef-Nordic-5-Clause */

#include <errno.h>
#include <zephyr/drivers/i2c.h>
#include <zephyr/drivers/sensor.h>
#include <zephyr/logging/log.h>
#include <zephyr/shell/shell.h>

#include "dryspool_sensors.h"

LOG_MODULE_REGISTER(dryspool_sensors, LOG_LEVEL_INF);

#define BME_NODE DT_NODELABEL(dryspool_bme280)
static const struct device *const bme = DEVICE_DT_GET(BME_NODE);
static const struct device *const bus = DEVICE_DT_GET(DT_BUS(BME_NODE));

int dryspool_sensors_init(void)
{
	bool found = false;

	if (!device_is_ready(bus)) {
		return -ENODEV;
	}
	/* Probe only the Bosch addresses; reject BMP280 (no humidity). */
	for (uint16_t addr = 0x76; addr <= 0x77; addr++) {
		uint8_t id;
		int ret = i2c_reg_read_byte(bus, addr, 0xd0, &id);

		if (ret == 0) {
			LOG_INF("BME probe: address 0x%02x, chip ID 0x%02x", addr, id);
			if (addr != DT_REG_ADDR(BME_NODE) || id != 0x60) {
				LOG_ERR("Unexpected sensor identity/address; expected BME280 at 0x%02x",
					(unsigned int)DT_REG_ADDR(BME_NODE));
				return -ENODEV;
			}
			found = true;
		}
	}
	if (!found || !device_is_ready(bme)) {
		return -ENODEV;
	}
	/* Verify one real sample before image confirmation or network waits. */
	struct dryspool_reading reading;
	int ret = dryspool_sensors_read(&reading);

	if (ret) {
		return ret;
	}
	LOG_INF("BME280 startup: %.2f C, %.2f %%RH", reading.temperature_c,
		reading.humidity_pct);
	return 0;
}

int dryspool_sensors_read(struct dryspool_reading *reading)
{
	static unsigned int sample_number;
	struct sensor_value temperature, humidity;
	int ret;

	if (reading == NULL) {
		return -EINVAL;
	}
	ret = sensor_sample_fetch(bme);
	if (ret) {
		return ret;
	}
	ret = sensor_channel_get(bme, SENSOR_CHAN_AMBIENT_TEMP, &temperature);
	if (ret) {
		return ret;
	}
	ret = sensor_channel_get(bme, SENSOR_CHAN_HUMIDITY, &humidity);
	if (ret) {
		return ret;
	}
	reading->temperature_c = sensor_value_to_double(&temperature);
	reading->humidity_pct = sensor_value_to_double(&humidity);
	/* Filament and actuator state remain prototype simulations. */
	reading->filament_remaining_g = 750.0 - (sample_number++ % 100) * 0.5;
	reading->dehumidifier_on = reading->humidity_pct > 43.0;
	return 0;
}

static int cmd_bme_read(const struct shell *shell, size_t argc, char **argv)
{
	struct dryspool_reading reading;
	int ret;

	(void)shell;
	(void)argc;
	(void)argv;
	ret = dryspool_sensors_read(&reading);
	if (ret) {
		LOG_ERR("BME280 sample failed: %d", ret);
		return ret;
	}
	LOG_INF("BME280 sample: %.2f C, %.2f %%RH", reading.temperature_c,
		reading.humidity_pct);
	return 0;
}

SHELL_CMD_REGISTER(bme_read, NULL, "Read BME280 temperature and humidity", cmd_bme_read);
```

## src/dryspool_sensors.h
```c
/* SPDX-License-Identifier: LicenseRef-Nordic-5-Clause */

#ifndef DRYSPOOL_SENSORS_H_
#define DRYSPOOL_SENSORS_H_

#include <stdbool.h>

struct dryspool_reading {
	double temperature_c;
	double humidity_pct;
	double filament_remaining_g;
	bool dehumidifier_on;
};

int dryspool_sensors_init(void);
int dryspool_sensors_read(struct dryspool_reading *reading);

#endif /* DRYSPOOL_SENSORS_H_ */
```

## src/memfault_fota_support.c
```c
/* Copyright (c) 2026 Nordic Semiconductor ASA
 *
 * SPDX-License-Identifier: LicenseRef-Nordic-5-Clause
 */

#include <zephyr/dfu/mcuboot.h>
#include <zephyr/kernel.h>
#include <zephyr/logging/log.h>
#include <memfault/components.h>
#include <net/fota_download.h>

#include "memfault_fota_support.h"
#include "cloud_connection.h"
#include "sample_reboot.h"

LOG_MODULE_REGISTER(memfault_fota_support, CONFIG_WIFI_NRF_CLOUD_LOG_LEVEL);

enum phase { IDLE, TRANSFERRING, RESTARTING, FAILED };
static atomic_t phase;
const char *memfault_fota_phase(void)
{
	static const char *const names[] = {"idle", "transferring", "restarting", "failed"};
	return names[atomic_get(&phase)];
}

/* Custom FOTA download callback (enabled through CONFIG_MEMFAULT_FOTA_DOWNLOAD_CALLBACK_CUSTOM)
 * so that the sample can cleanly disconnect from nRF Cloud before rebooting to apply the update.
 */
void memfault_fota_download_callback(const struct fota_download_evt *evt)
{
	switch (evt->id) {
	case FOTA_DOWNLOAD_EVT_PROGRESS:
		atomic_set(&phase, TRANSFERRING);
		break;
	case FOTA_DOWNLOAD_EVT_FINISHED:
		atomic_set(&phase, RESTARTING);
		LOG_INF("FOTA update downloaded, rebooting to apply it");
		disconnect_cloud();
		sample_reboot_normal();
		break;
	case FOTA_DOWNLOAD_EVT_ERROR:
		atomic_set(&phase, FAILED);
		LOG_ERR("FOTA download failed, cause: %d", evt->cause);
		break;
	case FOTA_DOWNLOAD_EVT_CANCELLED:
		atomic_set(&phase, IDLE);
		LOG_ERR("FOTA download cancelled");
		break;
	default:
		break;
	}
}

void memfault_fota_support_init(void)
{
	/* Confirm the running image */
	if (!boot_is_img_confirmed()) {
		int err;

		LOG_INF("Confirming FOTA update image");

		err = boot_write_img_confirmed();
		if (err) {
			LOG_ERR("Failed to confirm FOTA update image, error: %d", err);
		}
	}
}
```

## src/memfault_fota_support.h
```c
/* Copyright (c) 2026 Nordic Semiconductor ASA
 *
 * SPDX-License-Identifier: LicenseRef-Nordic-5-Clause
 */

#ifndef MEMFAULT_FOTA_SUPPORT_H
#define MEMFAULT_FOTA_SUPPORT_H

/**
 * @brief Initialize application FOTA support.
 *
 * Confirms the running image (if not already confirmed) so that MCUboot does not roll back
 * after a successful FOTA update. Must be called once at startup.
 */
void memfault_fota_support_init(void);
const char *memfault_fota_phase(void);

#endif /* MEMFAULT_FOTA_SUPPORT_H */
```

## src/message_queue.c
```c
/* Copyright (c) 2023 Nordic Semiconductor ASA
 *
 * SPDX-License-Identifier: LicenseRef-Nordic-5-Clause
 */

#include <zephyr/kernel.h>
#include <net/nrf_cloud.h>
#if defined(CONFIG_NRF_CLOUD_COAP)
#include <net/nrf_cloud_coap.h>
#endif
#include <date_time.h>
#include <memfault/metrics/metrics.h>
#include <zephyr/logging/log.h>
#include <net/nrf_cloud_codec.h>

#include "message_queue.h"
#include "cloud_connection.h"

#include "led_control.h"

LOG_MODULE_REGISTER(message_queue, CONFIG_WIFI_NRF_CLOUD_LOG_LEVEL);

/* Message Queue for enqueing outgoing messages during offline periods. */
K_MSGQ_DEFINE(device_message_queue,
	      sizeof(struct nrf_cloud_obj *),
	      CONFIG_MAX_OUTGOING_MESSAGES,
	      sizeof(struct nrf_cloud_obj *));

/* Tracks the number of consecutive message-send failures. A total count greater than
 * CONFIG_MAX_CONSECUTIVE_SEND_FAILURES will trigger a connection reset and cooldown.
 * Resets on every successful device message send.
 */
static int send_failure_count;

static struct nrf_cloud_obj *allocate_dev_msg_for_queue(struct nrf_cloud_obj *msg_to_copy)
{
	struct nrf_cloud_obj *new_msg = k_malloc(sizeof(struct nrf_cloud_obj));

	if (new_msg && msg_to_copy) {
		*new_msg = *msg_to_copy;
	}

	return new_msg;
}

static int enqueue_device_message(struct nrf_cloud_obj *const msg_obj, const bool create_copy)
{
	if (!msg_obj) {
		return -EINVAL;
	}

	struct nrf_cloud_obj *q_msg = msg_obj;
	uint32_t msgs_in_q = k_msgq_num_used_get(&device_message_queue);

	LOG_DBG("Messages queue status: %u/%u", msgs_in_q, CONFIG_MAX_OUTGOING_MESSAGES);

	if (msgs_in_q == CONFIG_MAX_OUTGOING_MESSAGES) {
		LOG_WRN("Message queue is full");
		return -ENOSPC;
	}

	if (create_copy) {
		/* Allocate a new nrf_cloud_obj structure for the message queue.
		 * Copy the contents of msg_obj, which contains a pointer to the
		 * original message data, into the new structure.
		 */
		q_msg = allocate_dev_msg_for_queue(msg_obj);
		if (!q_msg) {
			return -ENOMEM;
		}
	}

	/* Attempt to append data onto message queue. */
	LOG_DBG("Adding device message to queue");
	if (k_msgq_put(&device_message_queue, &q_msg, K_NO_WAIT)) {
		LOG_ERR("Device message rejected, outgoing message queue is full");
		if (create_copy) {
			k_free(q_msg);
		}
		return -ENOMEM;
	}

	return 0;
}

static void free_queued_dev_msg_message(struct nrf_cloud_obj *msg_obj)
{
	/* Free the memory pointed to by the msg_obj struct */
	nrf_cloud_obj_free(msg_obj);
	/* Free the msg_obj struct itself */
	k_free(msg_obj);
}

/**
 * @brief Consume (attempt to send) a single device message from the device message queue.
 *	  Waits for nRF Cloud readiness before sending each message.
 *	  If the message fails to send, it will be reenqueued.
 *
 * @return int - 0 on success, otherwise negative error code.
 */
static int consume_device_message(void)
{
	struct nrf_cloud_obj *queued_msg;
	int ret;

	LOG_DBG("Consuming an enqueued device message");

	/* Wait until a message is available to send. */
	ret = k_msgq_get(&device_message_queue, &queued_msg, K_FOREVER);
	if (ret) {
		LOG_ERR("Failed to retrieve item from outgoing message queue, error: %d", ret);
		return -ret;
	}

	/* Wait until we are able to send it. */
	LOG_DBG("Waiting for valid connection before transmitting device message");
	(void)await_cloud_ready(K_FOREVER);

	/* Attempt to send it.
	 *
	 * Note, it is possible (and better) to batch-send device messages when more than one is
	 * queued up. We limit this sample to sending individual messages mainly to keep the sample
	 * simple and accessible.
	 */
	LOG_DBG("Attempting to transmit enqueued device message");
	LOG_DBG("Messages remaining in queue: %u", k_msgq_num_used_get(&device_message_queue));

#if defined(CONFIG_NRF_CLOUD_MQTT)
	struct nrf_cloud_tx_data mqtt_msg = {
		.qos = MQTT_QOS_1_AT_LEAST_ONCE,
		.topic_type = NRF_CLOUD_TOPIC_MESSAGE,
		.obj = queued_msg
	};

	/* Send message */
	ret = nrf_cloud_send(&mqtt_msg);

#elif defined(CONFIG_NRF_CLOUD_COAP)
	ret = nrf_cloud_coap_obj_send(queued_msg, IS_ENABLED(CONFIG_COAP_SEND_CONFIRMABLE));

#endif /* CONFIG_NRF_CLOUD_COAP */

	if (ret < 0) {
		(void)MEMFAULT_METRIC_ADD(dryspool_cloud_send_failures, 1);
		LOG_ERR("Transmission of enqueued device message failed, nrf_cloud_send "
			"gave error: %d. The message will be re-enqueued and tried again "
			"later.", ret);

		/* Re-enqueue the message for later retry.
		 * No need to create a copy since we already copied the
		 * message object struct when it was first enqueued.
		 */
		ret = enqueue_device_message(queued_msg, false);
		if (ret) {
			(void)MEMFAULT_METRIC_ADD(dryspool_cloud_queue_drops, 1);
			LOG_ERR("Could not re-enqueue message, discarding.");
			free_queued_dev_msg_message(queued_msg);
		}

		/* Increment the failure counter. */
		send_failure_count += 1;

		/* If we have failed too many times in a row, there is likely a bigger problem,
		 * and we should reset our connection to nRF Cloud, and wait for a few seconds.
		 */
		if (send_failure_count > CONFIG_MAX_CONSECUTIVE_SEND_FAILURES) {
			/* Disconnect. */
			disconnect_cloud();

			/* Wait for a few seconds before trying again. */
			k_sleep(K_SECONDS(CONFIG_CONSECUTIVE_SEND_FAILURE_COOLDOWN_SECONDS));
		}
	} else {
		/* Clean up the message receive from the queue */
		free_queued_dev_msg_message(queued_msg);

		LOG_DBG("Enqueued device message consumed successfully");

		/* Either overwrite the existing pattern with a short success pattern, or just
		 * disable the previously requested pattern, depending on if we are in verbose mode.
		 */
		if (IS_ENABLED(CONFIG_LED_VERBOSE_INDICATION)) {
			short_led_pattern(LED_SUCCESS);
		} else {
			stop_led_pattern();
		}

		/* Reset the failure counter, since we succeeded. */
		send_failure_count = 0;
	}

	return ret;
}

int send_device_message(struct nrf_cloud_obj *const msg_obj)
{
	/* Enqueue the message, creating a copy to be managed by the queue. */
	int ret = enqueue_device_message(msg_obj, true);

	if (ret) {
		(void)MEMFAULT_METRIC_ADD(dryspool_cloud_queue_drops, 1);
		LOG_ERR("Cannot add message to queue");
		nrf_cloud_obj_free(msg_obj);
	} else {
		/* The message data now belongs to the queue.
		 * Reset the provided object so it cannot be modified.
		 */
		nrf_cloud_obj_reset(msg_obj);
	}

	return ret;
}

void message_queue_thread_fn(void)
{
	/* Continually attempt to consume device messages */
	while (true) {
		(void) consume_device_message();
	}
}
```

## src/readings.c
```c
#include <zephyr/kernel.h>

#include "readings.h"

/* Only copy data under this lock. No I2C, flash, logging or network I/O. */
static struct k_spinlock sample_lock;
static struct dryspool_sample latest;
static bool have_sample;

bool dryspool_read_latest(struct dryspool_sample *out)
{
	k_spinlock_key_t key = k_spin_lock(&sample_lock);
	bool valid = have_sample;

	*out = latest;
	k_spin_unlock(&sample_lock, key);
	return valid;
}

void dryspool_publish_sample(struct dryspool_sample *sample)
{
	sample->uptime_ms = k_uptime_get();
	k_spinlock_key_t key = k_spin_lock(&sample_lock);

	latest = *sample;
	have_sample = true;
	k_spin_unlock(&sample_lock, key);
}

static struct fan_request requested; /* Starts in automatic mode. */

static struct fan_request queued;
static int64_t deadline;

void dryspool_queue_fan_request(struct fan_request request, int64_t deadline_ms)
{
	k_spinlock_key_t key = k_spin_lock(&sample_lock);
	queued = request;
	deadline = deadline_ms;
	k_spin_unlock(&sample_lock, key);
}

struct fan_request dryspool_get_fan_request(void)
{
	k_spinlock_key_t key = k_spin_lock(&sample_lock);
	if (deadline && k_uptime_get() < deadline) {
		requested = queued;
	}
	deadline = 0;
	struct fan_request request = requested;
	k_spin_unlock(&sample_lock, key);
	return request;
}
```

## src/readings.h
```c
#pragma once

#include <stdbool.h>
#include <stdint.h>
#include "sensors/scale.h"

/* One completed pass of the local control loop. Missing data is explicitly
 * marked, so losing one sensor doesn't invalidate the other sensor's data.
 */
enum fan_mode { FAN_AUTO, FAN_ON, FAN_OFF };

struct fan_request {
	enum fan_mode mode;
	int32_t id;
};

struct dryspool_sample {
	struct fan_request fan_request;
	int64_t uptime_ms;
	int32_t temperature_mc;
	int32_t humidity_mpct;
	int32_t raw_counts[SCALE_CHANNELS];
	int32_t filament_g;
	bool env_valid;
	bool raw_valid;
	bool grams_valid;
	bool fan_valid;
	bool fan_on; /* GPIO command, not a tachometer reading */
};

/* Stamps the completed cycle with uptime and publishes it for other threads. */
void dryspool_publish_sample(struct dryspool_sample *sample);

/* Copies a consistent snapshot. False before the first pass completes. */
bool dryspool_read_latest(struct dryspool_sample *out);

void dryspool_queue_fan_request(struct fan_request request, int64_t deadline_ms);
struct fan_request dryspool_get_fan_request(void);
```
